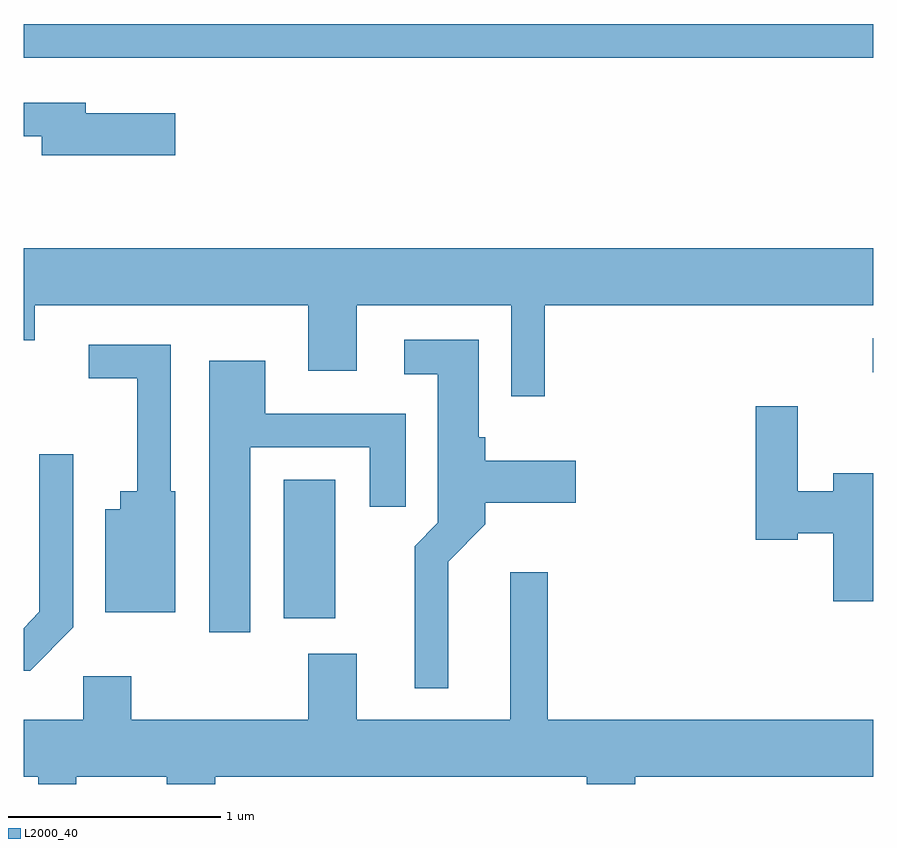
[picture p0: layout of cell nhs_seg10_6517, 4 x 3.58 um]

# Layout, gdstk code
import gdstk
lib = gdstk.Library(unit=1e-6, precision=1e-09)
def R(c, l, rs):  # rectangles x0, y0, x1, y1
    for r in rs: c.add(gdstk.rectangle(r[:2], r[2:], *l))
def P(c, l, *ps):  # polygons
    for p in ps: c.add(gdstk.Polygon(p, *l))
L2000_40 = (2000, 40)

nhs_seg10_6517 = lib.new_cell('nhs_seg10_6517')
R(nhs_seg10_6517, L2000_40, [(378.836,2141.301,379.079,2141.954), (381.608,2142.461,381.611,2142.619), (377.611,2143.941,381.611,2144.099)])
P(nhs_seg10_6517, L2000_40, [(378.324,2143.679),(377.904,2143.679),(377.904,2143.729),(377.611,2143.729),(377.611,2143.571),(377.696,2143.571),(377.696,2143.481),(378.324,2143.481)],
  [(380.064,2142.776),(381.611,2142.776),(381.611,2143.044),(377.611,2143.044),(377.611,2142.611),(377.664,2142.611),(377.664,2142.776),(378.951,2142.776),(378.951,2142.466),(379.179,2142.466),(379.179,2142.776),(379.906,2142.776),(379.906,2142.348),(380.064,2142.348)],
  [(379.609,2141.569),(379.784,2141.744),(379.784,2141.846),(380.209,2141.846),(380.209,2142.044),(379.784,2142.044),(379.784,2142.154),(379.754,2142.154),(379.754,2142.614),(379.403,2142.614),(379.403,2142.451),(379.561,2142.451),(379.561,2141.752),(379.451,2141.642),(379.451,2140.973),(379.609,2140.973)],
  [(378.324,2141.899),(378.304,2141.899),(378.304,2142.589),(377.918,2142.589),(377.918,2142.431),(378.146,2142.431),(378.146,2141.899),(378.066,2141.899),(378.066,2141.814),(377.996,2141.814),(377.996,2141.331),(378.324,2141.331)],
  [(378.679,2142.106),(379.241,2142.106),(379.241,2141.828),(379.409,2141.828),(379.409,2142.264),(378.749,2142.264),(378.749,2142.514),(378.486,2142.514),(378.486,2141.236),(378.679,2141.236)],
  [(381.611,2141.984),(381.421,2141.984),(381.421,2141.899),(381.254,2141.899),(381.254,2142.299),(381.056,2142.299),(381.056,2141.671),(381.254,2141.671),(381.254,2141.701),(381.421,2141.701),(381.421,2141.381),(381.611,2141.381)],
  [(377.844,2141.259),(377.844,2142.073),(377.686,2142.073),(377.686,2141.332),(377.611,2141.256),(377.611,2141.056),(377.642,2141.056)],
  [(378.286,2140.522),(378.514,2140.522),(378.514,2140.556),(380.261,2140.556),(380.261,2140.522),(380.489,2140.522),(380.489,2140.556),(381.611,2140.556),(381.611,2140.824),(380.079,2140.824),(380.079,2141.519),(379.901,2141.519),(379.901,2140.824),(379.179,2140.824),(379.179,2141.134),(378.951,2141.134),(378.951,2140.824),(378.119,2140.824),(378.119,2141.029),(377.891,2141.029),(377.891,2140.824),(377.611,2140.824),(377.611,2140.556),(377.681,2140.556),(377.681,2140.522),(377.859,2140.522),(377.859,2140.556),(378.286,2140.556)])

lib.write_gds('nhs_seg10_6517.gds')
